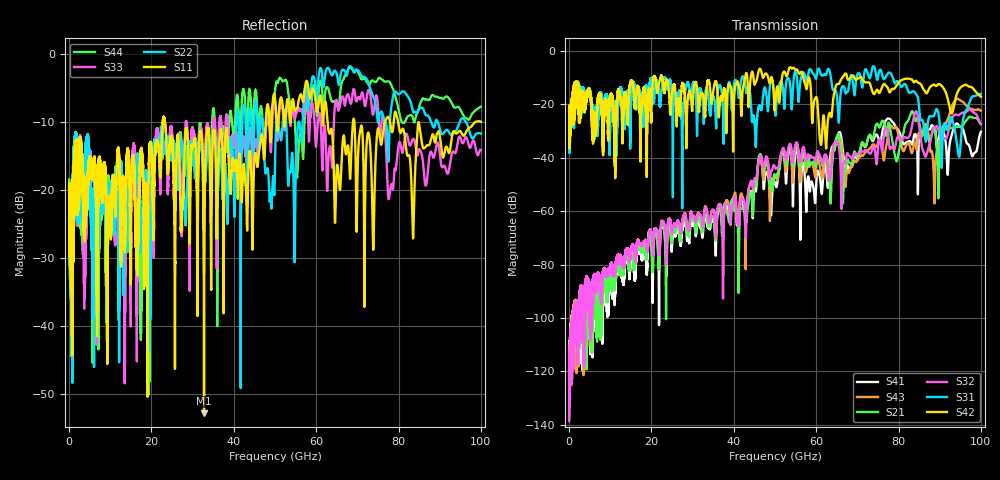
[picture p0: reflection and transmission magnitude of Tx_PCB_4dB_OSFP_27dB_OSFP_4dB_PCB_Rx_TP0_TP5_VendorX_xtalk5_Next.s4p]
! Info: Touchstone file created by Circ.  Input file=Tx_PCB_4dB_OSFP_27dB_OSFP_4dB_PCB_Rx_TP0_TP5_VendorX.circ
# Hz S RI R 50
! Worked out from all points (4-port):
!   10000 points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, 10 MHz to 100 GHz, reference 50 ohm
!   strongest paths, dB at 10 MHz, 25.01 GHz, 50.01 GHz, 75.01 GHz, 100 GHz:
!     S42: -22.6, -15.9, -20.6, -14.9, -17.2
!     S31: -22.5, -19.3, -21.2, -9.9, -16.1
!     S32: -138.6, -67.9, -43.6, -36.1, -27.2
!     S21: -138.1, -69.1, -46.5, -27.5, -27.4
!     S43: -135.8, -67.9, -46.6, -34.2, -22.4
!     S41: -132.7, -72.8, -49.3, -32.2, -30.3
!   lowest |S11| = -52.8 dB at 32.77 GHz (marker M1), VSWR 1.00, Z = 50 - j0.226 ohm
!   |S11| at or under -10 dB: start of sweep to 22.76 GHz; 23.27 GHz to 47.75 GHz (24.48 GHz wide, 68.9 % of centre); 79.89 GHz to 98.74 GHz (18.85 GHz wide, 21.1 % of centre)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
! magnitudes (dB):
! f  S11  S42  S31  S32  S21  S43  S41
! 10 MHz  -19.8  -22.6  -22.5  -138.6  -138.1  -135.8  -132.7
! 32.77 GHz  -52.8  -18.7  -25.7  -61.5  -62.0  -60.5  -63.2
! 57.68 GHz  -4.0  -14.3  -11.3  -40.7  -43.3  -44.4  -56.5
! 73.94 GHz  -27.6  -16.1  -5.7  -35.7  -31.9  -35.0  -33.3
! 88.75 GHz  -12.9  -12.7  -23.8  -28.5  -28.8  -55.2  -28.7
! 94.62 GHz  -11.4  -14.6  -39.4  -24.0  -28.3  -18.1  -27.8
! 100 GHz  -10.0  -17.2  -16.1  -27.2  -27.4  -22.4  -30.3
